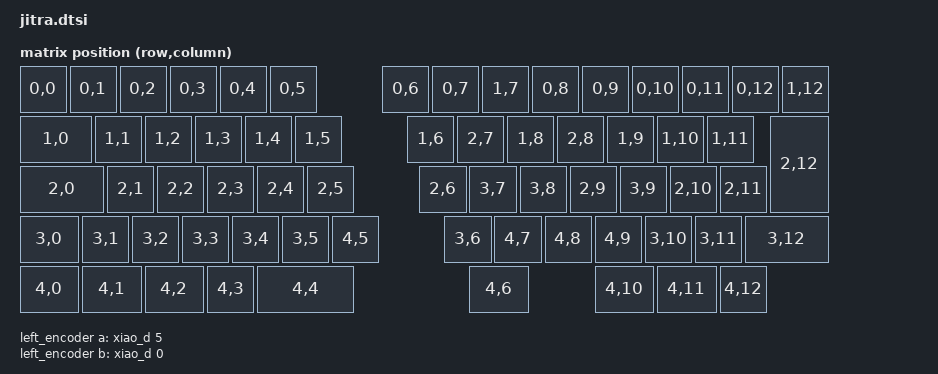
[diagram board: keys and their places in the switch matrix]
#include <dt-bindings/zmk/matrix_transform.h>
#include <physical_layouts.dtsi>

/ {
    chosen {
        zmk,physical-layout = &jitra_physical_layout;
    };

    jitra_physical_layout: jitra_physical_layout {
        compatible = "zmk,physical-layout";
        display-name = "Default";

        transform = <&default_transform>;
        kscan = <&kscan0>;

        keys
            /* Row 0: 15 keys (w h x y rot rx ry) */
            = <&key_physical_attrs 100 100    0    0    0 0 0>
            , <&key_physical_attrs 100 100  100    0    0 0 0>
            , <&key_physical_attrs 100 100  200    0    0 0 0>
            , <&key_physical_attrs 100 100  300    0    0 0 0>
            , <&key_physical_attrs 100 100  400    0    0 0 0>
            , <&key_physical_attrs 100 100  500    0    0 0 0>
            , <&key_physical_attrs 100 100  725    0    0 0 0>
            , <&key_physical_attrs 100 100  825    0    0 0 0>
            , <&key_physical_attrs 100 100  925    0    0 0 0>
            , <&key_physical_attrs 100 100 1025    0    0 0 0>
            , <&key_physical_attrs 100 100 1125    0    0 0 0>
            , <&key_physical_attrs 100 100 1225    0    0 0 0>
            , <&key_physical_attrs 100 100 1325    0    0 0 0>
            , <&key_physical_attrs 100 100 1425    0    0 0 0>
            , <&key_physical_attrs 100 100 1525    0    0 0 0>

            /* Row 1: 14 keys */
            , <&key_physical_attrs 150 100    0  100    0 0 0>
            , <&key_physical_attrs 100 100  150  100    0 0 0>
            , <&key_physical_attrs 100 100  250  100    0 0 0>
            , <&key_physical_attrs 100 100  350  100    0 0 0>
            , <&key_physical_attrs 100 100  450  100    0 0 0>
            , <&key_physical_attrs 100 100  550  100    0 0 0>
            , <&key_physical_attrs 100 100  775  100    0 0 0>
            , <&key_physical_attrs 100 100  875  100    0 0 0>
            , <&key_physical_attrs 100 100  975  100    0 0 0>
            , <&key_physical_attrs 100 100 1075  100    0 0 0>
            , <&key_physical_attrs 100 100 1175  100    0 0 0>
            , <&key_physical_attrs 100 100 1275  100    0 0 0>
            , <&key_physical_attrs 100 100 1375  100    0 0 0>
            , <&key_physical_attrs 125 200 1500  100    0 0 0>

            /* Row 2: 13 keys */
            , <&key_physical_attrs 175 100    0  200    0 0 0>
            , <&key_physical_attrs 100 100  175  200    0 0 0>
            , <&key_physical_attrs 100 100  275  200    0 0 0>
            , <&key_physical_attrs 100 100  375  200    0 0 0>
            , <&key_physical_attrs 100 100  475  200    0 0 0>
            , <&key_physical_attrs 100 100  575  200    0 0 0>
            , <&key_physical_attrs 100 100  800  200    0 0 0>
            , <&key_physical_attrs 100 100  900  200    0 0 0>
            , <&key_physical_attrs 100 100 1000  200    0 0 0>
            , <&key_physical_attrs 100 100 1100  200    0 0 0>
            , <&key_physical_attrs 100 100 1200  200    0 0 0>
            , <&key_physical_attrs 100 100 1300  200    0 0 0>
            , <&key_physical_attrs 100 100 1400  200    0 0 0>

            /* Row 3: 14 keys */
            , <&key_physical_attrs 125 100    0  300    0 0 0>
            , <&key_physical_attrs 100 100  125  300    0 0 0>
            , <&key_physical_attrs 100 100  225  300    0 0 0>
            , <&key_physical_attrs 100 100  325  300    0 0 0>
            , <&key_physical_attrs 100 100  425  300    0 0 0>
            , <&key_physical_attrs 100 100  525  300    0 0 0>
            , <&key_physical_attrs 100 100  625  300    0 0 0>
            , <&key_physical_attrs 100 100  850  300    0 0 0>
            , <&key_physical_attrs 100 100  950  300    0 0 0>
            , <&key_physical_attrs 100 100 1050  300    0 0 0>
            , <&key_physical_attrs 100 100 1150  300    0 0 0>
            , <&key_physical_attrs 100 100 1250  300    0 0 0>
            , <&key_physical_attrs 100 100 1350  300    0 0 0>
            , <&key_physical_attrs 175 100 1450  300    0 0 0>

            /* Row 4: 9 keys (thumb clusters; encoder/trackball are not kscan keys) */
            , <&key_physical_attrs 125 100    0  400    0 0 0>
            , <&key_physical_attrs 125 100  125  400    0 0 0>
            , <&key_physical_attrs 125 100  250  400    0 0 0>
            , <&key_physical_attrs 100 100  375  400    0 0 0>
            , <&key_physical_attrs 200 100  475  400    0 0 0>
            , <&key_physical_attrs 125 100  900  400    0 0 0>
            , <&key_physical_attrs 125 100 1150  400    0 0 0>
            , <&key_physical_attrs 125 100 1275  400    0 0 0>
            , <&key_physical_attrs 100 100 1400  400    0 0 0>
            ;
    };

    /* columns = left(6) + right(7); right-side shield adds col-offset = <6> */
    default_transform: keymap_transform_0 {
        compatible = "zmk,matrix-transform";
        columns = <13>;
        rows = <5>;

        map = <
            /* Row 0: ESC 1-5 | 6-0 - ^ ¥ BS */
            RC(0,0) RC(0,1) RC(0,2) RC(0,3) RC(0,4) RC(0,5)     RC(0,6) RC(0,7) RC(1,7) RC(0,8) RC(0,9) RC(0,10) RC(0,11) RC(0,12) RC(1,12)
            /* Row 1: TAB Q-T | Y-P @ [ ENTER(tall) */
            RC(1,0) RC(1,1) RC(1,2) RC(1,3) RC(1,4) RC(1,5)     RC(1,6) RC(2,7) RC(1,8) RC(2,8) RC(1,9) RC(1,10) RC(1,11) RC(2,12)
            /* Row 2: CAPS A-G | H-L ; : ENTER(small) */
            RC(2,0) RC(2,1) RC(2,2) RC(2,3) RC(2,4) RC(2,5)     RC(2,6) RC(3,7) RC(3,8) RC(2,9) RC(3,9) RC(2,10) RC(2,11)
            /* Row 3: LSHFT Z-B MO1 | N-/ INT1(ろ) RSHFT */
            RC(3,0) RC(3,1) RC(3,2) RC(3,3) RC(3,4) RC(3,5) RC(4,5)     RC(3,6) RC(4,7) RC(4,8) RC(4,9) RC(3,10) RC(3,11) RC(3,12)
            /* Row 4: LCTRL LGUI LALT LWR SPACE | RSE RGUI RALT RCTRL */
            RC(4,0) RC(4,1) RC(4,2) RC(4,3) RC(4,4)             RC(4,6) RC(4,10) RC(4,11) RC(4,12)
        >;
    };

    left_encoder: encoder_left {
        compatible = "alps,ec11";
        a-gpios = <&xiao_d 5 (GPIO_ACTIVE_HIGH | GPIO_PULL_UP)>;
        b-gpios = <&xiao_d 0 (GPIO_ACTIVE_HIGH | GPIO_PULL_UP)>;
        steps = <12>;
        status = "disabled";
    };

    sensors: sensors {
        compatible = "zmk,keymap-sensors";
        sensors = <&left_encoder>;
        triggers-per-rotation = <10>;
    };

    trackball_listener: trackball_listener {
        compatible = "zmk,input-listener";
        status = "disabled";
    };
};

&spi0 {
    status = "disabled";

    trackball: trackball@0 {
        status = "disabled";
        reg = <0>;
    };
};
